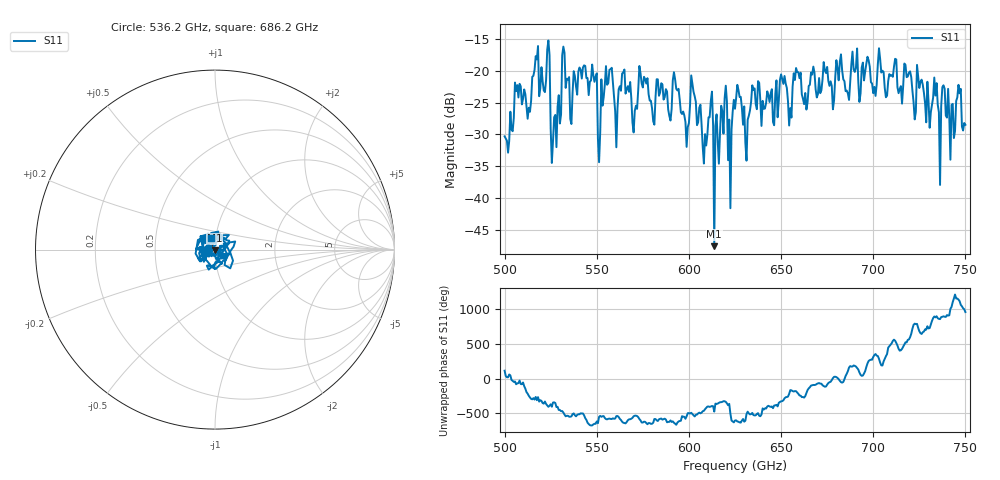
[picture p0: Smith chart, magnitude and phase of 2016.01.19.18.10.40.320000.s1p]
!Created with skrf (http://scikit-rf.org).
# GHz S RI R 50.0
!freq ReS11 ImS11
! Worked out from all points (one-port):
!   401 points, 500 GHz to 750 GHz, reference 50 ohm
!   lowest |S11| = -47.6 dB at 613.8 GHz (marker M1), VSWR 1.01, Z = 49.8 - j0.377 ohm
!   |S11| at or under -10 dB: start of sweep to end of sweep
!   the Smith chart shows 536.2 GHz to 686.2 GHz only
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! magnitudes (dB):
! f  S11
! 500 GHz  -30.3
! 506.9 GHz  -22.2
! 513.1 GHz  -25.8
! 516.9 GHz  -17.7
! 523.1 GHz  -16.7
! 526.9 GHz  -27.3
! 531.2 GHz  -17.6
! 548.8 GHz  -21.7
! 551.9 GHz  -29.7
! 556.2 GHz  -21.9
! 560 GHz  -26.4
! 562.5 GHz  -22.4
! 570.6 GHz  -26.3
! 574.4 GHz  -22.0
! 580 GHz  -25.9
! 593.8 GHz  -23.1
! 613.8 GHz  -47.6
! 619.4 GHz  -24.3
! 622.5 GHz  -41.6
! 625 GHz  -26.0
! 630.6 GHz  -31.3
! 635 GHz  -23.0
! 656.2 GHz  -22.5
! 687.5 GHz  -21.7
! 718.8 GHz  -20.9
! 743.1 GHz  -25.2
! 746.2 GHz  -22.2
! 750 GHz  -28.5
